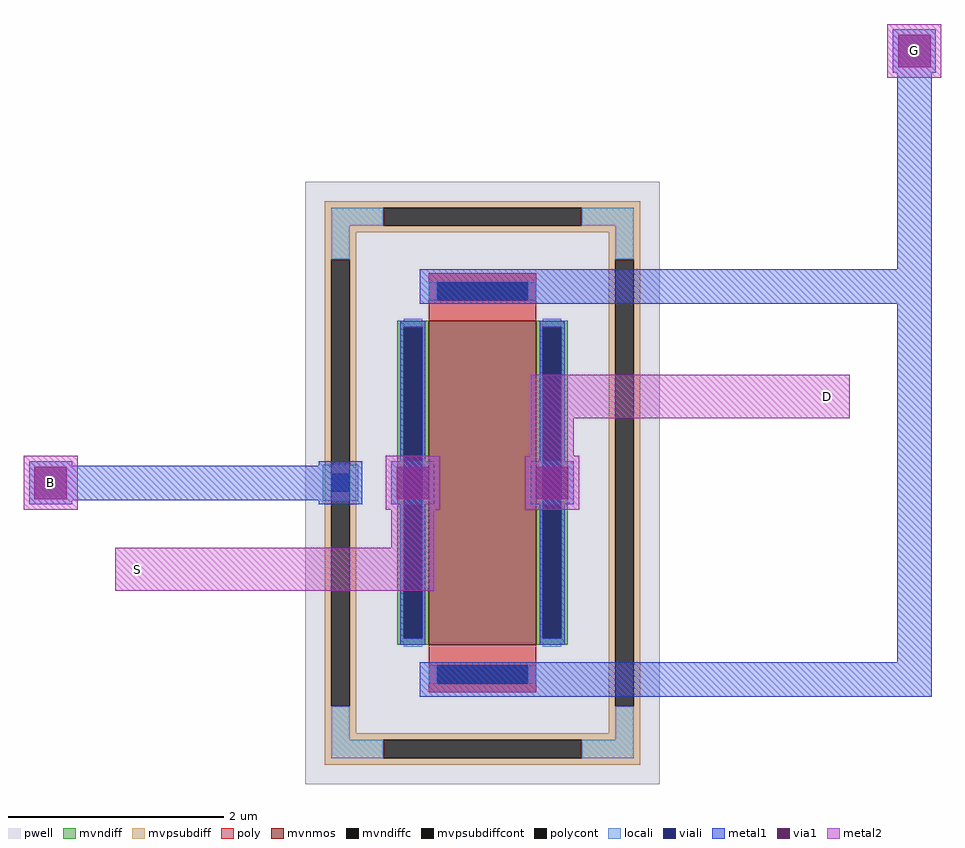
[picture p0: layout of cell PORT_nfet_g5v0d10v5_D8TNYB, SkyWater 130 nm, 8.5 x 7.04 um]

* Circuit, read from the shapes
.subckt PORT_nfet_g5v0d10v5_D8TNYB B S D G
XM1 D G S B sky130_fd_pr__nfet_g5v0d10v5 w=3 l=1
.ends

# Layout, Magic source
magic
tech sky130A
magscale 1 2
use sky130_fd_pr__nfet_g5v0d10v5_D8TNYB XDEV
transform 1 0 0 0 1 0
box -328 -558 328 558
<< locali >>
rect -296 -33 -230 33
<< viali >>
rect -280 -17 -246 17
<< metal1 >>
rect -303 -40 -223 40
rect -832 -32 -231 32
rect -840 -40 -760 40
rect -169 -40 -89 40
rect 89 -40 169 40
rect -116 332 832 396
rect -116 -396 832 -332
rect 768 -387 832 832
rect 760 760 840 840
<< via1 >>
rect -830 -30 -770 30
rect -159 -30 -99 30
rect 99 -30 159 30
rect 770 770 830 830
<< metal2 >>
rect -850 -50 -750 50
rect -179 -50 -79 50
rect -169 -40 -89 40
rect -169 -200 -89 40
rect 79 -50 179 50
rect 89 -40 169 40
rect 89 -40 169 200
rect -680 -200 -89 -120
rect 89 120 680 200
rect 750 750 850 850
<< labels >>
rlabel metal2 -830 -30 -770 30 0 B
port 1 nsew
rlabel metal2 -670 -190 -610 -130 0 S
port 2 nsew
rlabel metal2 610 130 670 190 0 D
port 3 nsew
rlabel metal2 770 770 830 830 0 G
port 4 nsew
<< end >>

# cell sky130_fd_pr__nfet_g5v0d10v5_D8TNYB: kit device sky130_fd_pr__nfet_g5v0d10v5, w 3.0 l 1.0 m 1 nf 1 diffcov 100 polycov 100 guard 1 glc 1 grc 1 gtc 1 gbc 1 tbcov 100 rlcov 100 topc 1 botc 1 poverlap 0 doverlap 1 lmin 0.50 wmin 0.42 compatible {sky130_fd_pr__nfet_01v8 sky130_fd_pr__nfet_01v8_lvt sky130_fd_bs_flash__special_sonosfet_star sky130_fd_pr__nfet_g5v0d10v5 sky130_fd_pr__nfet_05v0_nvt sky130_fd_pr__nfet_03v3_nvt} full_metal 1 viasrc 100 viadrn 100 viagate 100 viagb 0 viagr 0 viagl 0 viagt 0
